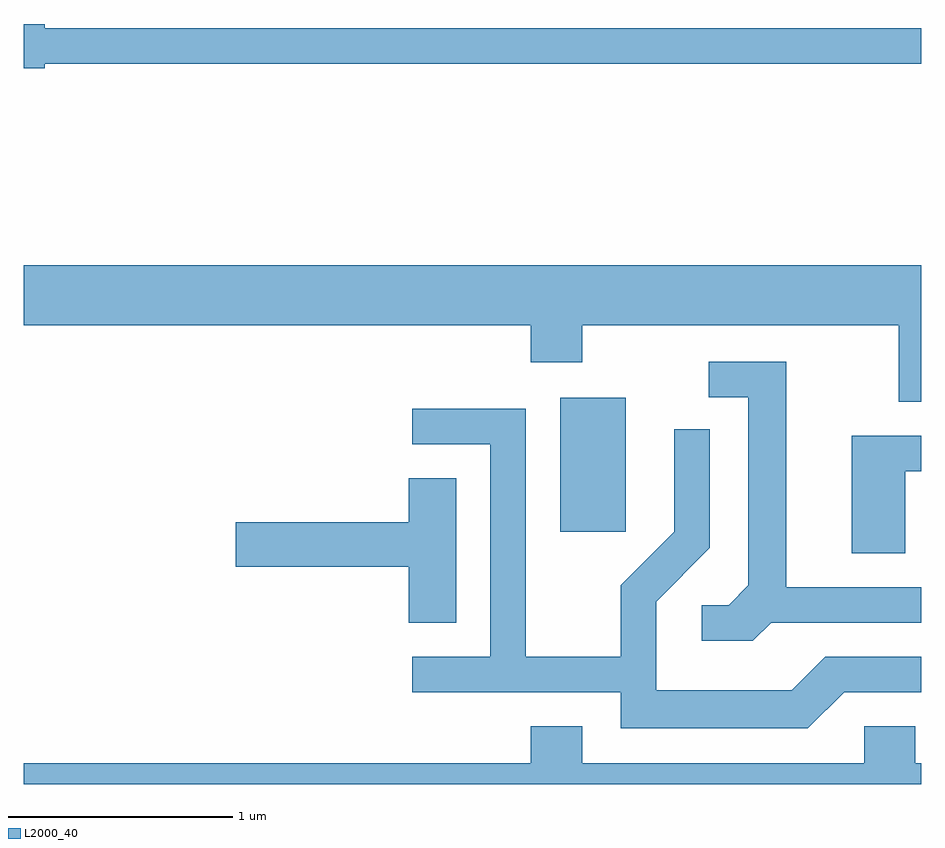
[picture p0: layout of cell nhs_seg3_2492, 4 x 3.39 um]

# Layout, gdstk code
import gdstk
lib = gdstk.Library(unit=1e-6, precision=1e-09)
def R(c, l, rs):  # rectangles x0, y0, x1, y1
    for r in rs: c.add(gdstk.rectangle(r[:2], r[2:], *l))
def P(c, l, *ps):  # polygons
    for p in ps: c.add(gdstk.Polygon(p, *l))
L2000_40 = (2000, 40)

nhs_seg3_2492 = lib.new_cell('nhs_seg3_2492')
R(nhs_seg3_2492, L2000_40, [(260.001,1205.016,260.294,1205.614)])
P(nhs_seg3_2492, L2000_40, [(257.704,1207.101),(261.611,1207.101),(261.611,1207.259),(257.704,1207.259),(257.704,1207.279),(257.611,1207.279),(257.611,1207.081),(257.704,1207.081)],
  [(261.611,1206.204),(257.611,1206.204),(257.611,1205.936),(259.871,1205.936),(259.871,1205.771),(260.099,1205.771),(260.099,1205.936),(261.511,1205.936),(261.511,1205.596),(261.611,1205.596)],
  [(260.942,1204.611),(261.611,1204.611),(261.611,1204.769),(261.009,1204.769),(261.009,1205.774),(260.663,1205.774),(260.663,1205.616),(260.841,1205.616),(260.841,1204.777),(260.754,1204.689),(260.633,1204.689),(260.633,1204.531),(260.861,1204.531)],
  [(261.267,1204.301),(261.611,1204.301),(261.611,1204.459),(261.183,1204.459),(261.034,1204.309),(260.429,1204.309),(260.429,1204.704),(260.669,1204.944),(260.669,1205.473),(260.511,1205.473),(260.511,1205.017),(260.271,1204.777),(260.271,1204.459),(259.849,1204.459),(259.849,1205.564),(259.343,1205.564),(259.343,1205.406),(259.691,1205.406),(259.691,1204.459),(259.343,1204.459),(259.343,1204.301),(260.271,1204.301),(260.271,1204.141),(261.106,1204.141)],
  [(261.539,1205.286),(261.611,1205.286),(261.611,1205.444),(261.301,1205.444),(261.301,1204.921),(261.539,1204.921)],
  [(259.539,1205.254),(259.326,1205.254),(259.326,1205.059),(258.556,1205.059),(258.556,1204.861),(259.326,1204.861),(259.326,1204.611),(259.539,1204.611)],
  [(261.611,1203.984),(261.584,1203.984),(261.584,1204.149),(261.356,1204.149),(261.356,1203.984),(260.099,1203.984),(260.099,1204.149),(259.871,1204.149),(259.871,1203.984),(257.611,1203.984),(257.611,1203.892),(261.611,1203.892)])

lib.write_gds('nhs_seg3_2492.gds')
